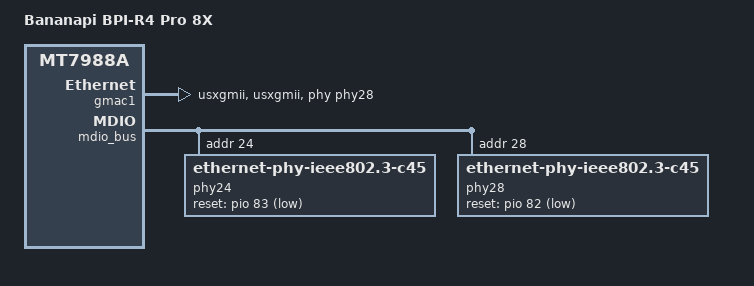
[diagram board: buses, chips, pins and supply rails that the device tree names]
// SPDX-License-Identifier: (GPL-2.0 OR MIT)
/*
 * Copyright (C) 2025 MediaTek Inc.
 * Author: Frank Wunderlich <frank-w@public-files.de>
 */

/dts-v1/;

#include "mt7988a-bananapi-bpi-r4-pro.dtsi"

/ {
	model = "Bananapi BPI-R4 Pro 8X";
	compatible = "bananapi,bpi-r4-pro-8x",
		     "bananapi,bpi-r4-pro",
		     "mediatek,mt7988a";
};

&gmac1 {
	phy-mode = "usxgmii";
	phy-connection-type = "usxgmii";
	phy-handle = <&phy28>;
	status = "okay";
};

&mdio_bus {
	/* external Aeonsemi AS21 phy connected to MXL switch */
	phy24: ethernet-phy@24 {
		reg = <24>;
		compatible = "ethernet-phy-ieee802.3-c45";
		reset-gpios = <&pio 83 GPIO_ACTIVE_LOW>;
		reset-assert-us = <200000>;
		reset-deassert-us = <350000>;
		firmware-name = "aeonsemi/as21x1x_fw.bin";

		leds {
			#address-cells = <1>;
			#size-cells = <0>;

			led@0 {
				reg = <0>;
				linux,default-trigger = "netdev";
				color = <LED_COLOR_ID_GREEN>;
				function = LED_FUNCTION_LAN;
				active-high;
			};

			led@1 {
				reg = <1>;
				linux,default-trigger = "netdev";
				color = <LED_COLOR_ID_YELLOW>;
				function = LED_FUNCTION_LAN;
				active-high;
			};
		};
	};

	/* external Aeonsemi AS21 phy connected to eth-mux on gmac1 */
	phy28: ethernet-phy@28 {
		reg = <28>;
		compatible = "ethernet-phy-ieee802.3-c45";
		reset-gpios = <&pio 82 GPIO_ACTIVE_LOW>;
		reset-assert-us = <200000>;
		reset-deassert-us = <350000>;
		firmware-name = "aeonsemi/as21x1x_fw.bin";

		leds {
			#address-cells = <1>;
			#size-cells = <0>;

			led@0 {
				reg = <0>;
				linux,default-trigger = "netdev";
				color = <LED_COLOR_ID_GREEN>;
				function = LED_FUNCTION_WAN;
				active-high;
			};

			led@1 {
				reg = <1>;
				linux,default-trigger = "netdev";
				color = <LED_COLOR_ID_YELLOW>;
				function = LED_FUNCTION_WAN;
				active-high;
			};
		};
	};
};
